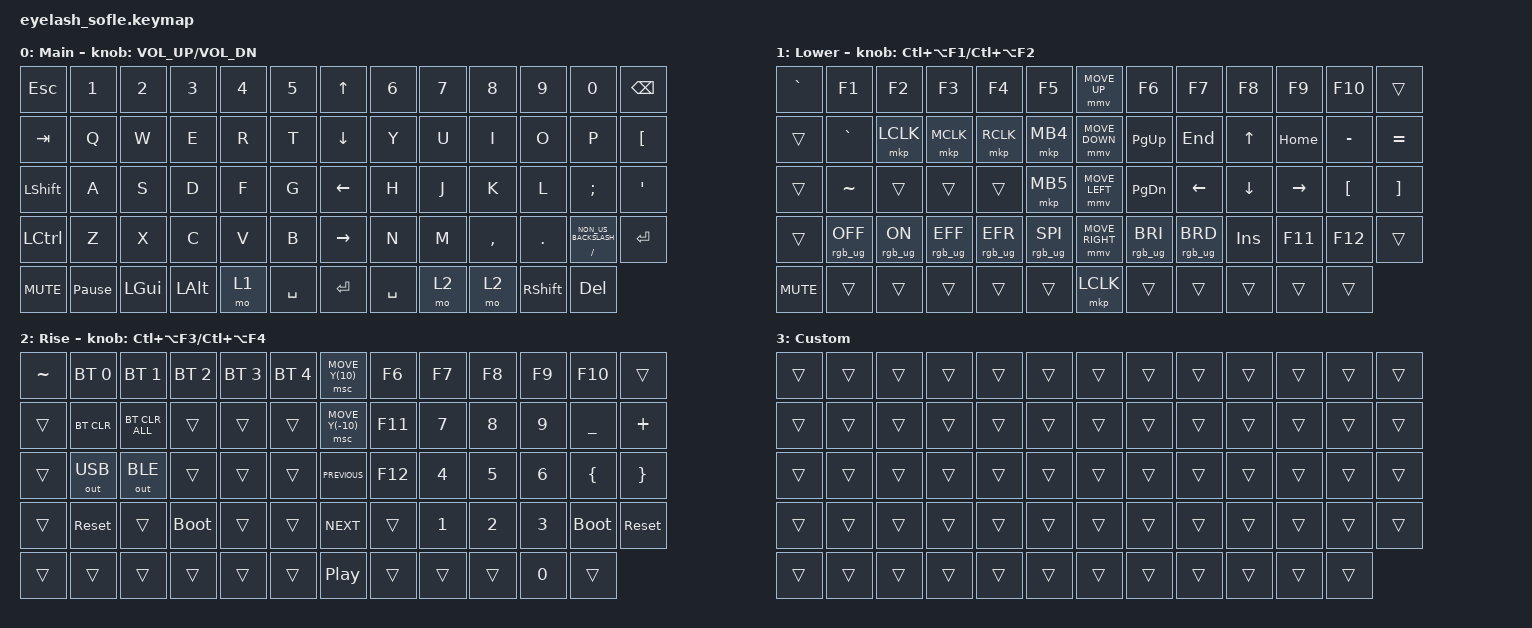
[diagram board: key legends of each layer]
#define ZMK_POINTING_DEFAULT_MOVE_VAL 1200  // 600
#define ZMK_POINTING_DEFAULT_SCRL_VAL 25   // 10

#include <input/processors.dtsi>
#include <zephyr/dt-bindings/input/input-event-codes.h>
#include <behaviors.dtsi>
#include <dt-bindings/zmk/bt.h>
#include <dt-bindings/zmk/keys.h>
#include <dt-bindings/zmk/outputs.h>
#include <dt-bindings/zmk/pointing.h>
#include <dt-bindings/zmk/rgb.h>

&mmv_input_listener { input-processors = <&zip_xy_scaler 2 1>; };

&msc_input_listener { input-processors = <&zip_scroll_scaler 2 1>; };

&msc {
    acceleration-exponent = <1>;      // 0
    time-to-max-speed-ms = <100>;       // 300
    delay-ms = <0>;                   // 0
};

&mmv {
    time-to-max-speed-ms = <500>;
    acceleration-exponent = <1>;
    trigger-period-ms = <16>;
};

/ {
    scroll_encoder: scroll_encoder {
        compatible = "zmk,behavior-sensor-rotate";
        #sensor-binding-cells = <0>;
        bindings = <&msc SCRL_DOWN>, <&msc SCRL_UP>;

        tap-ms = <100>;
    };

    behaviors {
    };

    keymap {
        compatible = "zmk,keymap";

        Main {
            bindings = <
&kp ESC           &kp N1           &kp N2        &kp N3        &kp N4  &kp N5       &kp UP_ARROW     &kp N6     &kp N7  &kp N8     &kp N9           &kp N0                     &kp BACKSPACE
&kp TAB           &kp Q            &kp W         &kp E         &kp R   &kp T        &kp DOWN_ARROW   &kp Y      &kp U   &kp I      &kp O            &kp P                      &kp LEFT_BRACKET
&kp LEFT_SHIFT    &kp A            &kp S         &kp D         &kp F   &kp G        &kp LEFT_ARROW   &kp H      &kp J   &kp K      &kp L            &kp SEMI                   &kp APOS
&kp LEFT_CONTROL  &kp Z            &kp X         &kp C         &kp V   &kp B        &kp RIGHT_ARROW  &kp N      &kp M   &kp COMMA  &kp DOT          &mt FSLH NON_US_BACKSLASH  &kp ENTER
&kp C_MUTE        &kp PAUSE_BREAK  &kp LEFT_GUI  &kp LEFT_ALT  &mo 1   &kp SPACE    &kp ENTER        &kp SPACE  &mo 2   &mo 2      &kp RIGHT_SHIFT  &kp DELETE
            >;

            sensor-bindings = <&inc_dec_kp C_VOLUME_UP C_VOL_DN>;
            display-name = "Main";
        };

        Lower {
            bindings = <
&kp GRAVE   &kp F1           &kp F2          &kp F3           &kp F4           &kp F5             &mmv MOVE_UP     &kp F6           &kp F7           &kp F8      &kp F9     &kp F10           &trans
&trans      &kp GRAVE        &mkp LCLK       &mkp MCLK        &mkp RCLK        &mkp MB4           &mmv MOVE_DOWN   &kp PG_UP        &kp END          &kp UP      &kp HOME   &kp MINUS         &kp EQUAL
&trans      &kp TILDE        &trans          &trans           &trans           &mkp MB5           &mmv MOVE_LEFT   &kp PG_DN        &kp LEFT         &kp DOWN    &kp RIGHT  &kp LEFT_BRACKET  &kp RIGHT_BRACKET
&trans      &rgb_ug RGB_OFF  &rgb_ug RGB_ON  &rgb_ug RGB_EFF  &rgb_ug RGB_EFR  &rgb_ug RGB_SPI    &mmv MOVE_RIGHT  &rgb_ug RGB_BRI  &rgb_ug RGB_BRD  &kp INSERT  &kp F11    &kp F12           &trans
&kp C_MUTE  &trans           &trans          &trans           &trans           &trans             &mkp LCLK        &trans           &trans           &trans      &trans     &trans
            >;

            display-name = "Lower";
            sensor-bindings = <&inc_dec_kp LC(LA(F1)) LC(LA(F2))>;
        };

        Rise {
            bindings = <
&kp TILDE  &bt BT_SEL 0  &bt BT_SEL 1    &bt BT_SEL 2  &bt BT_SEL 3  &bt BT_SEL 4    &msc MOVE_Y(10)   &kp F6   &kp F7        &kp F8        &kp F9        &kp F10      &trans
&trans     &bt BT_CLR    &bt BT_CLR_ALL  &trans        &trans        &trans          &msc MOVE_Y(-10)  &kp F11  &kp NUMBER_7  &kp NUMBER_8  &kp NUMBER_9  &kp UNDER    &kp PLUS
&trans     &out OUT_USB  &out OUT_BLE    &trans        &trans        &trans          &kp C_PREVIOUS    &kp F12  &kp NUMBER_4  &kp NUMBER_5  &kp NUMBER_6  &kp LBRC     &kp RBRC
&trans     &sys_reset    &trans          &bootloader   &trans        &trans          &kp C_NEXT        &trans   &kp NUMBER_1  &kp NUMBER_2  &kp NUMBER_3  &bootloader  &sys_reset
&trans     &trans        &trans          &trans        &trans        &trans          &kp C_PLAY_PAUSE  &trans   &trans        &trans        &kp NUMBER_0  &trans
            >;

            display-name = "Rise";
            sensor-bindings = <&inc_dec_kp LC(LA(F3)) LC(LA(F4))>;
        };

        Custom {
            bindings = <
&trans  &trans  &trans  &trans  &trans  &trans    &trans  &trans  &trans  &trans  &trans  &trans  &trans
&trans  &trans  &trans  &trans  &trans  &trans    &trans  &trans  &trans  &trans  &trans  &trans  &trans
&trans  &trans  &trans  &trans  &trans  &trans    &trans  &trans  &trans  &trans  &trans  &trans  &trans
&trans  &trans  &trans  &trans  &trans  &trans    &trans  &trans  &trans  &trans  &trans  &trans  &trans
&trans  &trans  &trans  &trans  &trans  &trans    &trans  &trans  &trans  &trans  &trans  &trans
            >;
        };
    };
};
